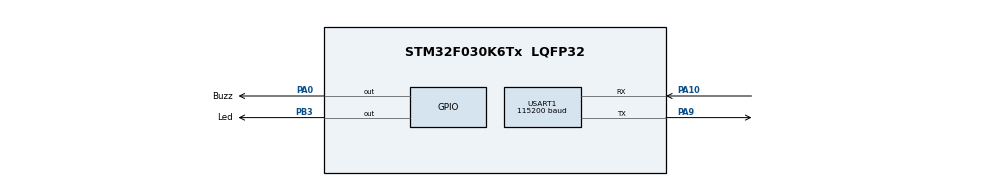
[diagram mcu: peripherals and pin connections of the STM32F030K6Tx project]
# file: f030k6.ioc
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Mcu.Family=STM32F0
Mcu.Name=STM32F030K6Tx
Mcu.Package=LQFP32
PA0.GPIO_Label=Buzz
PA0.Signal=GPIO_Output
PA10.Mode=Asynchronous
PA10.Signal=USART1_RX
PA9.Mode=Asynchronous
PA9.Signal=USART1_TX
PB3.GPIO_Label=Led
PB3.Signal=GPIO_Output
ProjectManager.HeapSize=0x200
ProjectManager.StackSize=0x400
ProjectManager.TargetToolchain=STM32CubeIDE
USART1.BaudRate=115200
USART1.VirtualMode-Asynchronous=VM_ASYNC
board=custom

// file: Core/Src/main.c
/* USER CODE BEGIN Header */
/**
  ******************************************************************************
  * @file           : main.c
  * @brief          : Main program body
  ******************************************************************************
  * @attention
  *
  * Copyright (c) 2022 STMicroelectronics.
  * All rights reserved.
  *
  * This software is licensed under terms that can be found in the LICENSE file
  * in the root directory of this software component.
  * If no LICENSE file comes with this software, it is provided AS-IS.
  *
  ******************************************************************************
  */
/* USER CODE END Header */
#include "main.h"

/* USER CODE BEGIN Includes */
#include <string.h>
#include <stdlib.h>
#include <ctype.h>
/* USER CODE END Includes */

UART_HandleTypeDef huart1;

void SystemClock_Config(void);
static void MX_GPIO_Init(void);
static void MX_USART1_UART_Init(void);

/* USER CODE BEGIN 0 */
int dotLen = 200;       // длина "точки" в коде Морзе
int dashLen = 600;      // длина "тире" в коде Морзе
int interval = 1000;	// длина интервала между буквами
int space = 1500; 		// длина интервала между словами
void MorseDot()
	{
	HAL_GPIO_WritePin(Buzz_GPIO_Port, Buzz_Pin, GPIO_PIN_SET);
	HAL_Delay(dotLen);
	HAL_GPIO_WritePin(Buzz_GPIO_Port, Buzz_Pin, GPIO_PIN_RESET);
	HAL_Delay(dotLen);
	}
void MorseDash()
	{
	HAL_GPIO_WritePin(Buzz_GPIO_Port, Buzz_Pin, GPIO_PIN_SET);
	HAL_Delay(dashLen);
	HAL_GPIO_WritePin(Buzz_GPIO_Port, Buzz_Pin, GPIO_PIN_RESET);
	HAL_Delay(dashLen);
	}
void MorseOutput(char tmpChar)
	{
	switch (tmpChar)
		{
		case 'a':
		MorseDot();
		MorseDash();
		HAL_Delay(interval);
		break;
		case 'b':
		MorseDash();
		MorseDot();
		MorseDot();
		MorseDot();
		HAL_Delay(interval);
		break;
		case 'c':
		MorseDash();
		MorseDot();
		MorseDash();
		MorseDot();
		HAL_Delay(interval);
		break;
		case 'd':
		MorseDash();
		MorseDot();
		MorseDot();
		HAL_Delay(interval);
		break;
		case 'e':
		MorseDot();
		HAL_Delay(interval);
		break;
		case 'f':
		MorseDot();
		MorseDot();
		MorseDash();
		MorseDot();
		HAL_Delay(interval);
		break;
		case 'g':
		MorseDash();
		MorseDash();
		MorseDot();
		HAL_Delay(interval);
		break;
		case 'h':
		MorseDot();
		MorseDot();
		MorseDot();
		MorseDot();
		HAL_Delay(interval);
		break;
		case 'i':
		MorseDot();
		MorseDot();
		HAL_Delay(interval);
		break;
		case 'j':
		MorseDot();
		MorseDash();
		MorseDash();
		MorseDash();
		HAL_Delay(interval);
		break;
		case 'k':
		MorseDash();
		MorseDot();
		MorseDash();
		HAL_Delay(interval);
		break;
		case 'l':
		MorseDot();
		MorseDash();
		MorseDot();
		MorseDot();
		HAL_Delay(interval);
		break;
		case 'm':
		MorseDash();
		MorseDash();
		HAL_Delay(interval);
		break;
		case 'n':
		MorseDash();
		MorseDot();
		HAL_Delay(interval);
		break;
		case 'o':
		MorseDash();
		MorseDash();
		MorseDash();
		HAL_Delay(interval);
		break;
		case 'p':
		MorseDot();
		MorseDash();
		MorseDash();
		MorseDot();
		HAL_Delay(interval);
		break;
		case 'q':
		MorseDash();
		MorseDash();
		MorseDot();
		MorseDash();
		HAL_Delay(interval);
		break;
		case 'r':
		MorseDot();
		MorseDash();
		MorseDot();
		HAL_Delay(interval);
		break;
		case 's':
		MorseDot();
		MorseDot();
		MorseDot();
		HAL_Delay(interval);
		break;
		case 't':
		MorseDash();
		HAL_Delay(interval);
		break;
		case 'u':
		MorseDot();
		MorseDot();
		MorseDash();
		HAL_Delay(interval);
		break;
		case 'v':
		MorseDot();
		MorseDot();
		MorseDot();
		MorseDash();
		HAL_Delay(interval);
		break;
		case 'w':
		MorseDot();
		MorseDash();
		MorseDash();
		HAL_Delay(interval);
		break;
		case 'x':
		MorseDash();
		MorseDot();
		MorseDot();
		MorseDash();
		HAL_Delay(interval);
		break;
		case 'y':
		MorseDash();
		MorseDot();
		MorseDash();
		MorseDash();
		HAL_Delay(interval);
		break;
		case 'z':
		MorseDash();
		MorseDash();
		MorseDot();
		MorseDot();
		HAL_Delay(interval);
		break;
		case ' ':
		HAL_Delay(space);
		break;
		default:
			   break;
		}
	}
/* USER CODE END 0 */

int main(void)
{

  /* MCU Configuration--------------------------------------------------------*/

  /* Reset of all peripherals, Initializes the Flash interface and the Systick. */
  HAL_Init();

  /* Configure the system clock */
  SystemClock_Config();

  /* Initialize all configured peripherals */
  MX_GPIO_Init();
  MX_USART1_UART_Init();

  /* Infinite loop */
  /* USER CODE BEGIN WHILE */
	char symbol;
	char array[1024] = "";
	int  k = 0;

  while (1)
  {
	  HAL_GPIO_WritePin(Led_GPIO_Port, Led_Pin, GPIO_PIN_SET);
	  if(HAL_UART_Receive(&huart1, (uint8_t*)&symbol, 1, -1) == HAL_OK)
	 	  {
	 		  HAL_UART_Transmit(&huart1, (uint8_t*)&symbol, 1, -1); //вывод введенного символа
	 		  array[k] = symbol;
	 		  k++;
	 		  if(symbol == '\n')
	 		  {
	 			char ch = '\r';
	 			HAL_UART_Transmit(&huart1, (uint8_t*)&ch, 1, -1); //убирает отступ в консоли
	 			for(int i = 0; i < k ; i++)
	 			  {
	 				HAL_UART_Transmit(&huart1, (uint8_t*)&array[i], 1, -1); //вывод посимвольно букв, которые пропикиваются
	 				MorseOutput(tolower(array[i]));
	 				if(array[i]== '\n')
	 				{
	 					HAL_UART_Transmit(&huart1, (uint8_t*)&ch, 1, -1);
	 				}
	 			  }
	 			memset(array, 0, 1024);	//очищаем массив
	 			k = 0;
	 		  }
	 	  }
    /* USER CODE END WHILE */

  }
}

void SystemClock_Config(void)
{
  RCC_OscInitTypeDef RCC_OscInitStruct = {0};
  RCC_ClkInitTypeDef RCC_ClkInitStruct = {0};
  RCC_PeriphCLKInitTypeDef PeriphClkInit = {0};

  /** Initializes the RCC Oscillators according to the specified parameters
  * in the RCC_OscInitTypeDef structure.
  */
  RCC_OscInitStruct.OscillatorType = RCC_OSCILLATORTYPE_HSI;
  RCC_OscInitStruct.HSIState = RCC_HSI_ON;
  RCC_OscInitStruct.HSICalibrationValue = RCC_HSICALIBRATION_DEFAULT;
  RCC_OscInitStruct.PLL.PLLState = RCC_PLL_NONE;
  if (HAL_RCC_OscConfig(&RCC_OscInitStruct) != HAL_OK)
  {
    Error_Handler();
  }
  /** Initializes the CPU, AHB and APB buses clocks
  */
  RCC_ClkInitStruct.ClockType = RCC_CLOCKTYPE_HCLK|RCC_CLOCKTYPE_SYSCLK
                              |RCC_CLOCKTYPE_PCLK1;
  RCC_ClkInitStruct.SYSCLKSource = RCC_SYSCLKSOURCE_HSI;
  RCC_ClkInitStruct.AHBCLKDivider = RCC_SYSCLK_DIV1;
  RCC_ClkInitStruct.APB1CLKDivider = RCC_HCLK_DIV1;

  if (HAL_RCC_ClockConfig(&RCC_ClkInitStruct, FLASH_LATENCY_0) != HAL_OK)
  {
    Error_Handler();
  }
  PeriphClkInit.PeriphClockSelection = RCC_PERIPHCLK_USART1;
  PeriphClkInit.Usart1ClockSelection = RCC_USART1CLKSOURCE_PCLK1;
  if (HAL_RCCEx_PeriphCLKConfig(&PeriphClkInit) != HAL_OK)
  {
    Error_Handler();
  }
}

static void MX_USART1_UART_Init(void)
{

  huart1.Instance = USART1;
  huart1.Init.BaudRate = 115200;
  huart1.Init.WordLength = UART_WORDLENGTH_8B;
  huart1.Init.StopBits = UART_STOPBITS_1;
  huart1.Init.Parity = UART_PARITY_NONE;
  huart1.Init.Mode = UART_MODE_TX_RX;
  huart1.Init.HwFlowCtl = UART_HWCONTROL_NONE;
  huart1.Init.OverSampling = UART_OVERSAMPLING_16;
  huart1.Init.OneBitSampling = UART_ONE_BIT_SAMPLE_DISABLE;
  huart1.AdvancedInit.AdvFeatureInit = UART_ADVFEATURE_NO_INIT;
  if (HAL_UART_Init(&huart1) != HAL_OK)
  {
    Error_Handler();
  }

}

static void MX_GPIO_Init(void)
{
  GPIO_InitTypeDef GPIO_InitStruct = {0};

  /* GPIO Ports Clock Enable */
  __HAL_RCC_GPIOA_CLK_ENABLE();
  __HAL_RCC_GPIOB_CLK_ENABLE();

  /*Configure GPIO pin Output Level */
  HAL_GPIO_WritePin(Buzz_GPIO_Port, Buzz_Pin, GPIO_PIN_RESET);

  /*Configure GPIO pin Output Level */
  HAL_GPIO_WritePin(Led_GPIO_Port, Led_Pin, GPIO_PIN_RESET);

  /*Configure GPIO pin : Buzz_Pin */
  GPIO_InitStruct.Pin = Buzz_Pin;
  GPIO_InitStruct.Mode = GPIO_MODE_OUTPUT_PP;
  GPIO_InitStruct.Pull = GPIO_NOPULL;
  GPIO_InitStruct.Speed = GPIO_SPEED_FREQ_LOW;
  HAL_GPIO_Init(Buzz_GPIO_Port, &GPIO_InitStruct);

  /*Configure GPIO pin : Led_Pin */
  GPIO_InitStruct.Pin = Led_Pin;
  GPIO_InitStruct.Mode = GPIO_MODE_OUTPUT_PP;
  GPIO_InitStruct.Pull = GPIO_NOPULL;
  GPIO_InitStruct.Speed = GPIO_SPEED_FREQ_LOW;
  HAL_GPIO_Init(Led_GPIO_Port, &GPIO_InitStruct);

}

void Error_Handler(void)
{
  __disable_irq();
  while (1)
  {
  }
}
